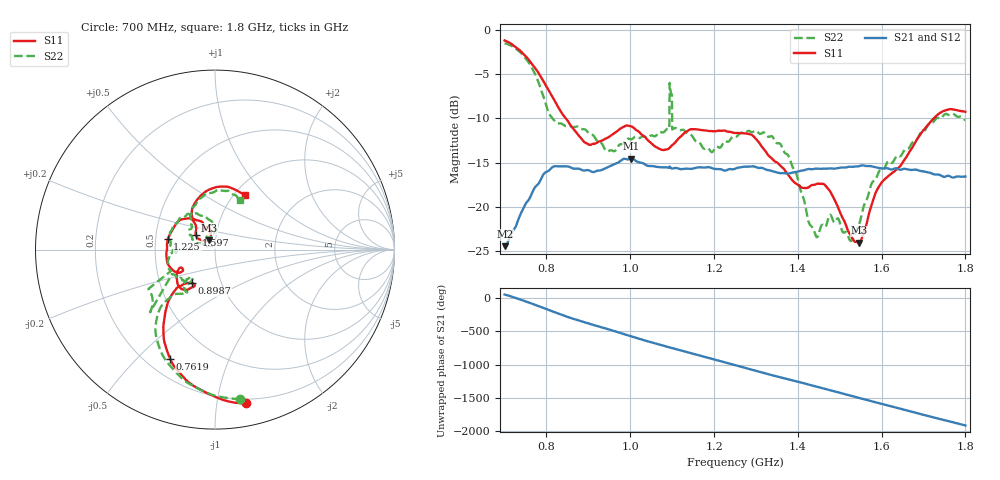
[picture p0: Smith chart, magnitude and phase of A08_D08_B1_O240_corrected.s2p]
! Created with skrf 1.9.0 (http://scikit-rf.org).
# Hz S RI R 50.0
!freq ReS11 ImS11 ReS21 ImS21 ReS12 ImS12 ReS22 ImS22
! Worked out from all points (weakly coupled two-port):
!   1601 points, 700 MHz to 1.8 GHz, reference 50 ohm
!   highest |S21| = -14.56 dB at 1.002 GHz (marker M1); lowest = -24.5 dB at 700.7 MHz (marker M2)
!   lowest |S11| = -24.1 dB at 1.546 GHz (marker M3), VSWR 1.13, Z = 46.4 + j4.8 ohm
!   |S11| at or under -10 dB: 846.2 MHz to 1.724 GHz (878.2 MHz wide, 68.3 % of centre)
!   |S22| runs from -23.9 to -1.5 dB; largest |S21 - S12| = 0.0037
!   S11 on the Smith chart (normalised r, x): 700 MHz: 0.17, -1.21; 761.9 MHz: 0.29, -0.63; 898.7 MHz: 0.73, -0.29; 1.225 GHz: 0.58, +0.07; 1.597 GHz: 0.80, +0.13; 1.8 GHz: 1.12, +0.77
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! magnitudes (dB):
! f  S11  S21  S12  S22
! 700 MHz  -1.2  -24.5  -24.3  -1.5
! 700.7 MHz  -1.2  -24.5  -24.2  -1.5
! 761.9 MHz  -3.6  -18.9  -18.8  -4.0
! 814.1 MHz  -7.5  -15.5  -15.6  -10.0
! 883.6 MHz  -12.3  -15.8  -15.7  -11.2
! 898.7 MHz  -12.9  -15.9  -15.9  -11.6
! 1.002 GHz  -10.9  -14.6  -14.7  -12.4
! 1.067 GHz  -13.4  -15.5  -15.5  -11.7
! 1.099 GHz  -13.1  -15.7  -15.7  -7.3
! 1.106 GHz  -12.8  -15.6  -15.6  -11.1
! 1.176 GHz  -11.3  -15.6  -15.5  -13.4
! 1.225 GHz  -11.4  -15.9  -15.9  -12.6
! 1.25 GHz  -11.7  -15.7  -15.6  -12.1
! 1.358 GHz  -15.3  -16.2  -16.2  -12.9
! 1.434 GHz  -17.6  -15.8  -15.7  -22.3
! 1.47 GHz  -17.9  -15.7  -15.7  -21.8
! 1.526 GHz  -23.2  -15.5  -15.5  -23.9
! 1.546 GHz  -24.1  -15.4  -15.4  -22.0
! 1.597 GHz  -17.5  -15.6  -15.6  -15.8
! 1.617 GHz  -16.5  -15.7  -15.7  -14.8
! 1.733 GHz  -9.6  -16.4  -16.4  -9.9
! 1.8 GHz  -9.3  -16.6  -16.6  -10.2
